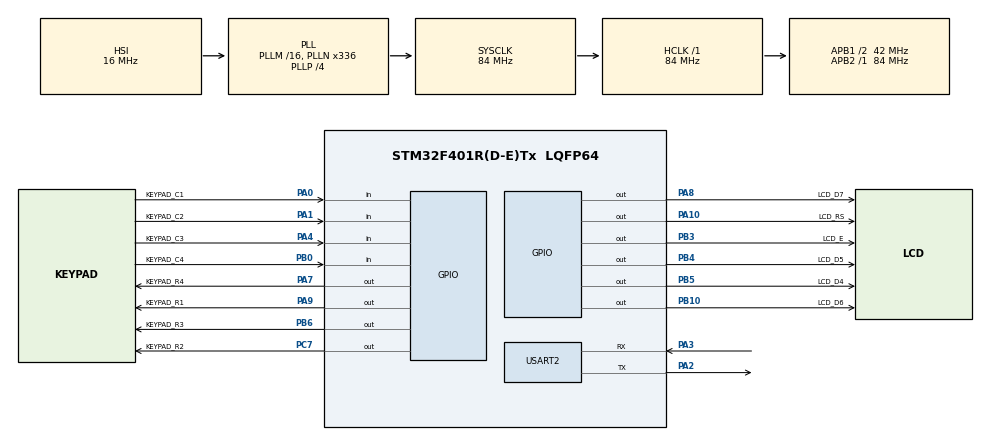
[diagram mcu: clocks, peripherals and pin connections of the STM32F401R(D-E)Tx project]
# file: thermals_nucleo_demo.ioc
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Mcu.Family=STM32F4
Mcu.Name=STM32F401R(D-E)Tx
Mcu.Package=LQFP64
NVIC.PriorityGroup=NVIC_PRIORITYGROUP_4
PA0-WKUP.GPIO_Label=KEYPAD_C1
PA0-WKUP.GPIO_PuPd=GPIO_PULLUP
PA0-WKUP.Signal=GPIO_Input
PA1.GPIO_Label=KEYPAD_C2
PA1.GPIO_PuPd=GPIO_PULLUP
PA1.Signal=GPIO_Input
PA10.GPIO_Label=LCD_RS
PA10.Signal=GPIO_Output
PA13.Mode=Serial_Wire
PA13.Signal=SYS_JTMS-SWDIO
PA14.Mode=Serial_Wire
PA14.Signal=SYS_JTCK-SWCLK
PA2.Mode=Asynchronous
PA2.Signal=USART2_TX
PA3.Mode=Asynchronous
PA3.Signal=USART2_RX
PA4.GPIO_Label=KEYPAD_C3
PA4.GPIO_PuPd=GPIO_PULLUP
PA4.Signal=GPIO_Input
PA7.GPIO_Label=KEYPAD_R4
PA7.PinState=GPIO_PIN_SET
PA7.Signal=GPIO_Output
PA8.GPIO_Label=LCD_D7
PA8.Signal=GPIO_Output
PA9.GPIO_Label=KEYPAD_R1
PA9.PinState=GPIO_PIN_SET
PA9.Signal=GPIO_Output
PB0.GPIO_Label=KEYPAD_C4
PB0.GPIO_PuPd=GPIO_PULLUP
PB0.Signal=GPIO_Input
PB10.GPIO_Label=LCD_D6
PB10.Signal=GPIO_Output
PB3.GPIO_Label=LCD_E
PB3.Signal=GPIO_Output
PB4.GPIO_Label=LCD_D5
PB4.Signal=GPIO_Output
PB5.GPIO_Label=LCD_D4
PB5.Signal=GPIO_Output
PB6.GPIO_Label=KEYPAD_R3
PB6.PinState=GPIO_PIN_SET
PB6.Signal=GPIO_Output
PC7.GPIO_Label=KEYPAD_R2
PC7.PinState=GPIO_PIN_SET
PC7.Signal=GPIO_Output
ProjectManager.HeapSize=0x200
ProjectManager.StackSize=0x400
ProjectManager.TargetToolchain=STM32CubeIDE
RCC.48MHZClocksFreq_Value=48000000
RCC.AHBFreq_Value=84000000
RCC.APB1CLKDivider=RCC_HCLK_DIV2
RCC.APB1Freq_Value=42000000
RCC.APB1TimFreq_Value=84000000
RCC.APB2Freq_Value=84000000
RCC.APB2TimFreq_Value=84000000
RCC.CortexFreq_Value=84000000
RCC.HCLKFreq_Value=84000000
RCC.HSE_VALUE=8000000
RCC.HSI_VALUE=16000000
RCC.PLLN=336
RCC.PLLP=RCC_PLLP_DIV4
RCC.PLLQ=7
RCC.SYSCLKFreq_VALUE=84000000
RCC.SYSCLKSource=RCC_SYSCLKSOURCE_PLLCLK
RCC.VCOOutputFreq_Value=336000000
USART2.VirtualMode=VM_ASYNC
board=NUCLEO-F401RE

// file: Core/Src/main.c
/* USER CODE BEGIN Header */
/**
  ******************************************************************************
  * @file           : main.c
  * @brief          : Main program body
  ******************************************************************************
  * @attention
  *
  * Copyright (c) 2026 STMicroelectronics.
  * All rights reserved.
  *
  * This software is licensed under terms that can be found in the LICENSE file
  * in the root directory of this software component.
  * If no LICENSE file comes with this software, it is provided AS-IS.
  *
  ******************************************************************************
  */
/* USER CODE END Header */
#include "main.h"

/* USER CODE BEGIN Includes */
#include "lcd1602.h"
/* USER CODE END Includes */

/* USER CODE BEGIN PD */

#define LCD_EDITOR_ROWS     2U
#define LCD_EDITOR_COLUMNS  16U

/* USER CODE END PD */

UART_HandleTypeDef huart2;

/* USER CODE BEGIN PV */

static uint8_t received_character;
static uint8_t lcd_row;
static uint8_t lcd_column;
static uint8_t editor_active;
static uint8_t escape_state;

static char lcd_buffer[LCD_EDITOR_ROWS][LCD_EDITOR_COLUMNS + 1U] =
{
  "                ",
  "                "
};

/* USER CODE END PV */

void SystemClock_Config(void);
static void MX_GPIO_Init(void);
static void MX_USART2_UART_Init(void);

/* USER CODE BEGIN 0 */

static void editor_clear_buffer(void)
{
  uint8_t row;
  uint8_t column;

  for (row = 0U; row < LCD_EDITOR_ROWS; row++)
  {
    for (column = 0U; column < LCD_EDITOR_COLUMNS; column++)
    {
      lcd_buffer[row][column] = ' ';
    }

    lcd_buffer[row][LCD_EDITOR_COLUMNS] = '\0';
  }
}

static void editor_redraw(void)
{
  uint8_t row;

  for (row = 0U; row < LCD_EDITOR_ROWS; row++)
  {
    lcd_set_cursor(row, 0U);
    lcd_print(lcd_buffer[row]);
  }

  lcd_set_cursor(lcd_row, lcd_column);
}

static void editor_begin(void)
{
  if (editor_active == 0U)
  {
    editor_clear_buffer();
    lcd_clear();

    lcd_row = 0U;
    lcd_column = 0U;
    editor_active = 1U;

    editor_redraw();
  }
}

static void editor_clear(void)
{
  editor_clear_buffer();
  lcd_clear();

  lcd_row = 0U;
  lcd_column = 0U;
  editor_active = 1U;

  editor_redraw();
}

static void editor_write_character(char character)
{
  editor_begin();

  lcd_buffer[lcd_row][lcd_column] = character;

  if (lcd_column < (LCD_EDITOR_COLUMNS - 1U))
  {
    lcd_column++;
  }
  else
  {
    lcd_column = 0U;
    lcd_row = (lcd_row == 0U) ? 1U : 0U;
  }

  editor_redraw();
}

static void editor_backspace(void)
{
  if (editor_active == 0U)
  {
    return;
  }

  if (lcd_column > 0U)
  {
    lcd_column--;
  }
  else
  {
    lcd_row = (lcd_row == 0U) ? 1U : 0U;
    lcd_column = LCD_EDITOR_COLUMNS - 1U;
  }

  lcd_buffer[lcd_row][lcd_column] = ' ';
  editor_redraw();
}

static void editor_new_line(void)
{
  editor_begin();

  lcd_row = (lcd_row == 0U) ? 1U : 0U;
  lcd_column = 0U;

  editor_redraw();
}

static void editor_handle_arrow(uint8_t arrow)
{
  if (editor_active == 0U)
  {
    return;
  }

  if ((arrow == 'A') && (lcd_row > 0U))
  {
    lcd_row--;
  }
  else if ((arrow == 'B') && (lcd_row < (LCD_EDITOR_ROWS - 1U)))
  {
    lcd_row++;
  }
  else if ((arrow == 'C') && (lcd_column < (LCD_EDITOR_COLUMNS - 1U)))
  {
    lcd_column++;
  }
  else if ((arrow == 'D') && (lcd_column > 0U))
  {
    lcd_column--;
  }

  editor_redraw();
}

static void editor_process_byte(uint8_t byte)
{
  if (escape_state == 1U)
  {
    if ((byte == '[') || (byte == 'O'))
    {
      escape_state = 2U;
    }
    else
    {
      escape_state = 0U;
    }

    return;
  }

  if (escape_state == 2U)
  {
    if ((byte == 'A') || (byte == 'B') ||
        (byte == 'C') || (byte == 'D'))
    {
      editor_handle_arrow(byte);
    }
    else if (byte == 'Z')
    {
      /* Shift-Tab sends ESC [ Z. */
      editor_clear();
    }

    escape_state = 0U;
    return;
  }

  if (byte == 27U)
  {
    escape_state = 1U;
  }
  else if (byte == '\r')
  {
    editor_new_line();
  }
  else if (byte == '\n')
  {
    /* Ignore the second byte of a CR/LF line ending. */
  }
  else if ((byte == '\b') || (byte == 127U))
  {
    editor_backspace();
  }
  else if ((byte >= 32U) && (byte <= 126U))
  {
    editor_write_character((char)byte);
  }
}

/* USER CODE END 0 */

int main(void)
{

  /* MCU Configuration--------------------------------------------------------*/

  /* Reset of all peripherals, Initializes the Flash interface and the Systick. */
  HAL_Init();

  /* Configure the system clock */
  SystemClock_Config();

  /* Initialize all configured peripherals */
  MX_GPIO_Init();
  MX_USART2_UART_Init();
  /* USER CODE BEGIN 2 */

  lcd_init();
  lcd_clear();

  lcd_set_cursor(0, 0);
  lcd_print("Type over USB:");

  lcd_row = 1U;
  lcd_column = 0U;
  editor_active = 0U;
  escape_state = 0U;
  lcd_set_cursor(lcd_row, lcd_column);
  /* USER CODE END 2 */

  /* Infinite loop */
  while (1)
  {

    /* USER CODE BEGIN 3 */

    if (HAL_UART_Receive(&huart2, &received_character, 1U, 10U) == HAL_OK)
    {
      editor_process_byte(received_character);
    }

  }
  /* USER CODE END 3 */
}

void SystemClock_Config(void)
{
  RCC_OscInitTypeDef RCC_OscInitStruct = {0};
  RCC_ClkInitTypeDef RCC_ClkInitStruct = {0};

  /** Configure the main internal regulator output voltage
  */
  __HAL_RCC_PWR_CLK_ENABLE();
  __HAL_PWR_VOLTAGESCALING_CONFIG(PWR_REGULATOR_VOLTAGE_SCALE2);

  /** Initializes the RCC Oscillators according to the specified parameters
  * in the RCC_OscInitTypeDef structure.
  */
  RCC_OscInitStruct.OscillatorType = RCC_OSCILLATORTYPE_HSI;
  RCC_OscInitStruct.HSIState = RCC_HSI_ON;
  RCC_OscInitStruct.HSICalibrationValue = RCC_HSICALIBRATION_DEFAULT;
  RCC_OscInitStruct.PLL.PLLState = RCC_PLL_ON;
  RCC_OscInitStruct.PLL.PLLSource = RCC_PLLSOURCE_HSI;
  RCC_OscInitStruct.PLL.PLLM = 16;
  RCC_OscInitStruct.PLL.PLLN = 336;
  RCC_OscInitStruct.PLL.PLLP = RCC_PLLP_DIV4;
  RCC_OscInitStruct.PLL.PLLQ = 7;
  if (HAL_RCC_OscConfig(&RCC_OscInitStruct) != HAL_OK)
  {
    Error_Handler();
  }

  /** Initializes the CPU, AHB and APB buses clocks
  */
  RCC_ClkInitStruct.ClockType = RCC_CLOCKTYPE_HCLK|RCC_CLOCKTYPE_SYSCLK
                              |RCC_CLOCKTYPE_PCLK1|RCC_CLOCKTYPE_PCLK2;
  RCC_ClkInitStruct.SYSCLKSource = RCC_SYSCLKSOURCE_PLLCLK;
  RCC_ClkInitStruct.AHBCLKDivider = RCC_SYSCLK_DIV1;
  RCC_ClkInitStruct.APB1CLKDivider = RCC_HCLK_DIV2;
  RCC_ClkInitStruct.APB2CLKDivider = RCC_HCLK_DIV1;

  if (HAL_RCC_ClockConfig(&RCC_ClkInitStruct, FLASH_LATENCY_2) != HAL_OK)
  {
    Error_Handler();
  }
}

static void MX_USART2_UART_Init(void)
{

  huart2.Instance = USART2;
  huart2.Init.BaudRate = 115200;
  huart2.Init.WordLength = UART_WORDLENGTH_8B;
  huart2.Init.StopBits = UART_STOPBITS_1;
  huart2.Init.Parity = UART_PARITY_NONE;
  huart2.Init.Mode = UART_MODE_TX_RX;
  huart2.Init.HwFlowCtl = UART_HWCONTROL_NONE;
  huart2.Init.OverSampling = UART_OVERSAMPLING_16;
  if (HAL_UART_Init(&huart2) != HAL_OK)
  {
    Error_Handler();
  }

}

static void MX_GPIO_Init(void)
{
  GPIO_InitTypeDef GPIO_InitStruct = {0};

  /* GPIO Ports Clock Enable */
  __HAL_RCC_GPIOA_CLK_ENABLE();
  __HAL_RCC_GPIOB_CLK_ENABLE();
  __HAL_RCC_GPIOC_CLK_ENABLE();

  /*Configure GPIO pin Output Level */
  HAL_GPIO_WritePin(GPIOA, KEYPAD_R4_Pin|KEYPAD_R1_Pin, GPIO_PIN_SET);

  /*Configure GPIO pin Output Level */
  HAL_GPIO_WritePin(GPIOB, LCD_D6_Pin|LCD_E_Pin|LCD_D5_Pin|LCD_D4_Pin, GPIO_PIN_RESET);

  /*Configure GPIO pin Output Level */
  HAL_GPIO_WritePin(KEYPAD_R2_GPIO_Port, KEYPAD_R2_Pin, GPIO_PIN_SET);

  /*Configure GPIO pin Output Level */
  HAL_GPIO_WritePin(GPIOA, LCD_D7_Pin|LCD_RS_Pin, GPIO_PIN_RESET);

  /*Configure GPIO pin Output Level */
  HAL_GPIO_WritePin(KEYPAD_R3_GPIO_Port, KEYPAD_R3_Pin, GPIO_PIN_SET);

  /*Configure GPIO pins : KEYPAD_C1_Pin KEYPAD_C2_Pin KEYPAD_C3_Pin */
  GPIO_InitStruct.Pin = KEYPAD_C1_Pin|KEYPAD_C2_Pin|KEYPAD_C3_Pin;
  GPIO_InitStruct.Mode = GPIO_MODE_INPUT;
  GPIO_InitStruct.Pull = GPIO_PULLUP;
  HAL_GPIO_Init(GPIOA, &GPIO_InitStruct);

  /*Configure GPIO pins : KEYPAD_R4_Pin LCD_D7_Pin KEYPAD_R1_Pin LCD_RS_Pin */
  GPIO_InitStruct.Pin = KEYPAD_R4_Pin|LCD_D7_Pin|KEYPAD_R1_Pin|LCD_RS_Pin;
  GPIO_InitStruct.Mode = GPIO_MODE_OUTPUT_PP;
  GPIO_InitStruct.Pull = GPIO_NOPULL;
  GPIO_InitStruct.Speed = GPIO_SPEED_FREQ_LOW;
  HAL_GPIO_Init(GPIOA, &GPIO_InitStruct);

  /*Configure GPIO pin : KEYPAD_C4_Pin */
  GPIO_InitStruct.Pin = KEYPAD_C4_Pin;
  GPIO_InitStruct.Mode = GPIO_MODE_INPUT;
  GPIO_InitStruct.Pull = GPIO_PULLUP;
  HAL_GPIO_Init(KEYPAD_C4_GPIO_Port, &GPIO_InitStruct);

  /*Configure GPIO pins : LCD_D6_Pin LCD_E_Pin LCD_D5_Pin LCD_D4_Pin
                           KEYPAD_R3_Pin */
  GPIO_InitStruct.Pin = LCD_D6_Pin|LCD_E_Pin|LCD_D5_Pin|LCD_D4_Pin
                          |KEYPAD_R3_Pin;
  GPIO_InitStruct.Mode = GPIO_MODE_OUTPUT_PP;
  GPIO_InitStruct.Pull = GPIO_NOPULL;
  GPIO_InitStruct.Speed = GPIO_SPEED_FREQ_LOW;
  HAL_GPIO_Init(GPIOB, &GPIO_InitStruct);

  /*Configure GPIO pin : KEYPAD_R2_Pin */
  GPIO_InitStruct.Pin = KEYPAD_R2_Pin;
  GPIO_InitStruct.Mode = GPIO_MODE_OUTPUT_PP;
  GPIO_InitStruct.Pull = GPIO_NOPULL;
  GPIO_InitStruct.Speed = GPIO_SPEED_FREQ_LOW;
  HAL_GPIO_Init(KEYPAD_R2_GPIO_Port, &GPIO_InitStruct);

}

void Error_Handler(void)
{
  __disable_irq();
  while (1)
  {
  }
}
